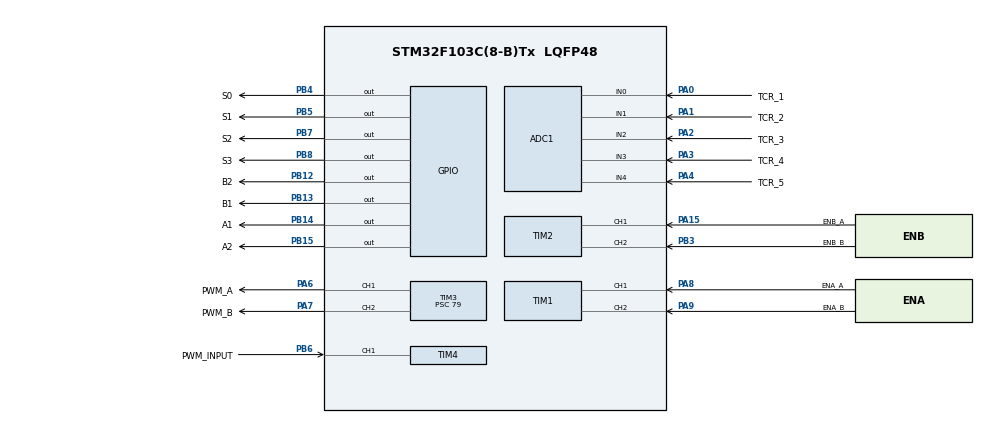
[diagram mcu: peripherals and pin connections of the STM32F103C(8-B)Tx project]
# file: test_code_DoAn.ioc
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ADC1.Channel-0\#ChannelRegularConversion=ADC_CHANNEL_0
ADC1.Channel-1\#ChannelRegularConversion=ADC_CHANNEL_1
ADC1.Channel-2\#ChannelRegularConversion=ADC_CHANNEL_2
ADC1.Channel-3\#ChannelRegularConversion=ADC_CHANNEL_3
ADC1.Channel-4\#ChannelRegularConversion=ADC_CHANNEL_4
ADC1.ContinuousConvMode=ENABLE
ADC1.NbrOfConversion=5
ADC1.NbrOfConversionFlag=1
ADC1.Rank-0\#ChannelRegularConversion=1
ADC1.Rank-1\#ChannelRegularConversion=2
ADC1.Rank-2\#ChannelRegularConversion=3
ADC1.Rank-3\#ChannelRegularConversion=4
ADC1.Rank-4\#ChannelRegularConversion=5
ADC1.SamplingTime-0\#ChannelRegularConversion=ADC_SAMPLETIME_239CYCLES_5
ADC1.SamplingTime-1\#ChannelRegularConversion=ADC_SAMPLETIME_239CYCLES_5
ADC1.SamplingTime-2\#ChannelRegularConversion=ADC_SAMPLETIME_1CYCLE_5
ADC1.SamplingTime-3\#ChannelRegularConversion=ADC_SAMPLETIME_239CYCLES_5
ADC1.SamplingTime-4\#ChannelRegularConversion=ADC_SAMPLETIME_239CYCLES_5
ADC1.master=1
Dma.ADC1.0.Direction=DMA_PERIPH_TO_MEMORY
Dma.ADC1.0.Instance=DMA1_Channel1
Dma.ADC1.0.MemDataAlignment=DMA_MDATAALIGN_HALFWORD
Dma.ADC1.0.MemInc=DMA_MINC_ENABLE
Dma.ADC1.0.Mode=DMA_CIRCULAR
Dma.ADC1.0.PeriphDataAlignment=DMA_PDATAALIGN_HALFWORD
Dma.ADC1.0.PeriphInc=DMA_PINC_DISABLE
Dma.ADC1.0.Priority=DMA_PRIORITY_LOW
Dma.Request0=ADC1
Mcu.Family=STM32F1
Mcu.Name=STM32F103C(8-B)Tx
Mcu.Package=LQFP48
NVIC.DMA1_Channel1_IRQn=true\:0\:0\:false\:false\:true\:false\:true\:true
NVIC.PriorityGroup=NVIC_PRIORITYGROUP_4
PA0-WKUP.GPIO_Label=TCR_1
PA0-WKUP.Signal=ADCx_IN0
PA1.GPIO_Label=TCR_2
PA1.Signal=ADCx_IN1
PA13.Mode=Serial_Wire
PA13.Signal=SYS_JTMS-SWDIO
PA14.Mode=Serial_Wire
PA14.Signal=SYS_JTCK-SWCLK
PA15.GPIO_Label=ENB_A
PA15.Signal=S_TIM2_CH1_ETR
PA2.GPIO_Label=TCR_3
PA2.Signal=ADCx_IN2
PA3.GPIO_Label=TCR_4
PA3.Signal=ADCx_IN3
PA4.GPIO_Label=TCR_5
PA4.Signal=ADCx_IN4
PA6.GPIO_Label=PWM_A
PA6.Signal=S_TIM3_CH1
PA7.GPIO_Label=PWM_B
PA7.Signal=S_TIM3_CH2
PA8.GPIO_Label=ENA_A
PA8.Signal=S_TIM1_CH1
PA9.GPIO_Label=ENA_B
PA9.Signal=S_TIM1_CH2
PB12.GPIO_Label=B2
PB12.Signal=GPIO_Output
PB13.GPIO_Label=B1
PB13.Signal=GPIO_Output
PB14.GPIO_Label=A1
PB14.Signal=GPIO_Output
PB15.GPIO_Label=A2
PB15.Signal=GPIO_Output
PB3.GPIO_Label=ENB_B
PB3.Signal=S_TIM2_CH2
PB4.GPIO_Label=S0
PB4.Signal=GPIO_Output
PB5.GPIO_Label=S1
PB5.Signal=GPIO_Output
PB6.GPIO_Label=PWM_INPUT
PB6.Signal=S_TIM4_CH1
PB7.GPIO_Label=S2
PB7.Signal=GPIO_Output
PB8.GPIO_Label=S3
PB8.Signal=GPIO_Output
ProjectManager.HeapSize=0x200
ProjectManager.StackSize=0x400
ProjectManager.TargetToolchain=MDK-ARM V5.32
RCC.APB1Freq_Value=8000000
RCC.APB2Freq_Value=8000000
SH.ADCx_IN0.0=ADC1_IN0,IN0
SH.ADCx_IN1.0=ADC1_IN1,IN1
SH.ADCx_IN2.0=ADC1_IN2,IN2
SH.ADCx_IN3.0=ADC1_IN3,IN3
SH.ADCx_IN4.0=ADC1_IN4,IN4
SH.S_TIM1_CH1.0=TIM1_CH1,Encoder_Interface
SH.S_TIM1_CH2.0=TIM1_CH2,Encoder_Interface
SH.S_TIM2_CH1_ETR.0=TIM2_CH1,Encoder_Interface
SH.S_TIM2_CH2.0=TIM2_CH2,Encoder_Interface
SH.S_TIM3_CH1.0=TIM3_CH1,PWM Generation1 CH1
SH.S_TIM3_CH2.0=TIM3_CH2,PWM Generation2 CH2
SH.S_TIM4_CH1.0=TIM4_CH1,PWM_Input_1
TIM1.EncoderMode=TIM_ENCODERMODE_TI12
TIM2.EncoderMode=TIM_ENCODERMODE_TI12
TIM3.Channel-PWM\ Generation1\ CH1=TIM_CHANNEL_1
TIM3.Channel-PWM\ Generation2\ CH2=TIM_CHANNEL_2
TIM3.Period=100
TIM3.Prescaler=79
board=custom

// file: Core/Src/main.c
/* USER CODE BEGIN Header */
/**
  ******************************************************************************
  * @file           : main.c
  * @brief          : Main program body
  ******************************************************************************
  * @attention
  *
  * Copyright (c) 2022 STMicroelectronics.
  * All rights reserved.
  *
  * This software is licensed under terms that can be found in the LICENSE file
  * in the root directory of this software component.
  * If no LICENSE file comes with this software, it is provided AS-IS.
  *
  ******************************************************************************
  */
/* USER CODE END Header */
#include "main.h"
#include "math.h"

 ADC_HandleTypeDef hadc1;
DMA_HandleTypeDef hdma_adc1;

TIM_HandleTypeDef htim1;
TIM_HandleTypeDef htim2;
TIM_HandleTypeDef htim3;
TIM_HandleTypeDef htim4;

void SystemClock_Config(void);
static void MX_GPIO_Init(void);
static void MX_DMA_Init(void);
static void MX_ADC1_Init(void);
static void MX_TIM1_Init(void);
static void MX_TIM2_Init(void);
static void MX_TIM3_Init(void);
static void MX_TIM4_Init(void);
/* USER CODE BEGIN PFP */
uint16_t u16_ADCScanVal[5];
int sum_ADC=0;
uint32_t red_value=0, green_value=0, blue_value=0;
int red=0, green=0;

uint32_t current_time=0, time_A=0, time_B=0;
uint32_t time=0, duration=0, time_start_feedback=0, duration_feedback=0, duration_feedback_;
long count_A = 0, count_B = 0;
float rpm_A = 0, rpm_B = 0, expected_rpm_A=0, expected_rpm_B=0, duty_cycle_A=0, duty_cycle_B=0, v_A=0, v_B=0;

float error_rpm=0, cum_error_A=0, cum_error_B=0, error_prev_A=0, error_prev_B=0;
float error_filtered_A = 0, error_filtered_B = 0, rate_error = 0, duty_cycle = 0;
float sample_time = 0.05,  T_filter=0.1, feedback_time=0.05; // s
float kp_A=0.47, ki_A=5.26, kd_A=-0.004;
float kp_B=0.47, ki_B=5.26, kd_B=-0.004;
float k1 = 0.05/200*0.5, k2 = 0.1/200*0.5, k3 = 2/200*0.5, vRef=650,wRef=0;

int isStarted=0;
int sign = 1;
float e2=0, e2_prev=0, e3=0;
float v=0, w=0, v_fb=0, v_prev=0;
float R=96/2.0, L=240, pi=3.1415;
/* USER CODE END PFP */

/* USER CODE BEGIN 0 */
void color_recognize(){
	for(int i=0; i<3; i++){
			switch (i){
				case 0:
					HAL_GPIO_WritePin(S2_GPIO_Port, S2_Pin, 0);
					HAL_GPIO_WritePin(S3_GPIO_Port, S3_Pin, 0);
					red_value = HAL_TIM_ReadCapturedValue(&htim4, TIM_CHANNEL_1);
					HAL_Delay(1);
					break;
				case 1:
					HAL_GPIO_WritePin(S2_GPIO_Port, S2_Pin, 0);
					HAL_GPIO_WritePin(S3_GPIO_Port, S3_Pin, 1);
					blue_value = HAL_TIM_ReadCapturedValue(&htim4, TIM_CHANNEL_1);
					HAL_Delay(1);
					break;
				default:
					HAL_GPIO_WritePin(S2_GPIO_Port, S2_Pin, 1);
					HAL_GPIO_WritePin(S3_GPIO_Port, S3_Pin, 1);
					green_value = HAL_TIM_ReadCapturedValue(&htim4, TIM_CHANNEL_1);
					HAL_Delay(1);
			}
		}
		if (red_value<800 && green_value>600){
			green=1;
			red=0;
		}
		else if (red_value>800 && green_value<700 && red_value<1000){
			green=0;
			red=1;
		}
		else {
			green=0;
			red=0;
		}
}

// tinh gia tri encoder

int convert_2_sign_int(int counter){
	if (counter >  32767) return counter - 65535;
	else return counter;
}

// tinh rpm
void calculate_rpm(int motor_id){
	current_time = HAL_GetTick();
	if (motor_id==1){
		time_A = current_time-time_A;
		count_A = __HAL_TIM_GET_COUNTER(&htim1);
		count_A = convert_2_sign_int(count_A);
		rpm_A = (float)count_A*1000.0/((float)time_A*374)*60/4;
		v_A = (rpm_A/60.0)*2*R*pi;
		__HAL_TIM_SET_COUNTER(&htim1, 0);
		time_A = HAL_GetTick();
	}
	if (motor_id==2){
		time_B = current_time-time_B;
		count_B = __HAL_TIM_GET_COUNTER(&htim2);
		count_B = convert_2_sign_int(count_B);
		rpm_B = (float)count_B*1000.0/((float)time_B*374)*60/4;
		v_B = (rpm_B/60.0)*2*R*pi;
		__HAL_TIM_SET_COUNTER(&htim2, 0);

		time_B = HAL_GetTick();
	}
}

float control_motor_A(float rpm_motor, float expected_rpm){
		error_rpm = expected_rpm-rpm_motor;
		cum_error_A += error_rpm*feedback_time;
		rate_error = (error_rpm-error_prev_A)/feedback_time;
//		error_filtered_A = error_filtered_A*(1-feedback_time/T_filter)+(feedback_time/T_filter)*error_rpm;
//		rate_error = (error_rpm-error_filtered_A)/T_filter;
		duty_cycle = kp_A*error_rpm + ki_A*cum_error_A+ kd_A*rate_error;//+ kd*(error_rpm-error_prev) + ki*cum_error+ kd*rate_error
		error_prev_A = error_rpm;
//
	if (duty_cycle<-100) return -100;
	if (duty_cycle>100) return 100;
	return duty_cycle;
}

float control_motor_B(float rpm_motor, float expected_rpm){
		error_rpm = expected_rpm-rpm_motor;
		cum_error_B += error_rpm*feedback_time;
//		rate_error = (error_rpm-error_prev_B)/feedback_time;
		error_filtered_B = error_filtered_B*(1-feedback_time/T_filter)+(feedback_time/T_filter)*error_rpm;
		rate_error = (error_rpm-error_filtered_B)/T_filter;
		duty_cycle = kp_B*error_rpm + ki_B*cum_error_B+ kd_B*rate_error;//+ kd*(error_rpm-error_prev) + ki*cum_error+ kd*rate_error
		error_prev_B = error_rpm;
//
	if (duty_cycle<-100) return -100;
	if (duty_cycle>100) return 100;
	return duty_cycle;
}

//
float compute_e2(){
	sum_ADC=0;
	for (int i=0; i<5;i++){
		sum_ADC+= (u16_ADCScanVal[i]-200);
	}
	if (u16_ADCScanVal[3]>2400 && u16_ADCScanVal[1]>2400)
		e2 = -15;
	else
		e2=((u16_ADCScanVal[0]-u16_ADCScanVal[4])*34+(u16_ADCScanVal[1]-u16_ADCScanVal[3])*17)/(float)sum_ADC;
	return e2;
}

float abs_(float a){
	if(a<0)
		return -a;
	else
		return a;
}

float sign_(float a){
	if (a<0)
		return -1;
	else
		return 1;
}
/* USER CODE END 0 */

int main(void)
{

  /* MCU Configuration--------------------------------------------------------*/

  /* Reset of all peripherals, Initializes the Flash interface and the Systick. */
  HAL_Init();

  /* Configure the system clock */
  SystemClock_Config();

  /* Initialize all configured peripherals */
  MX_GPIO_Init();
  MX_DMA_Init();
  MX_ADC1_Init();
  MX_TIM1_Init();
  MX_TIM2_Init();
  MX_TIM3_Init();
  MX_TIM4_Init();
  /* USER CODE BEGIN 2 */

	// cam bien mau
	HAL_GPIO_WritePin(S0_GPIO_Port, S0_Pin, 1);
	HAL_GPIO_WritePin(S1_GPIO_Port, S1_Pin, 1);
	HAL_TIM_IC_Start(&htim4, TIM_CHANNEL_1);
	HAL_TIM_IC_Start(&htim4, TIM_CHANNEL_2);

	// cam bien do line
	HAL_ADC_Start_DMA(&hadc1, (uint32_t*)u16_ADCScanVal, 5);

	// dong co
	HAL_TIM_PWM_Start(&htim3, TIM_CHANNEL_1);
	HAL_TIM_PWM_Start(&htim3, TIM_CHANNEL_2);
	TIM3->CCR1 = 0;
	TIM3->CCR2 = 0;
	HAL_GPIO_WritePin(A1_GPIO_Port, A1_Pin, 0);
	HAL_GPIO_WritePin(A2_GPIO_Port, A2_Pin, 0);
	HAL_GPIO_WritePin(B1_GPIO_Port, B1_Pin, 0);
	HAL_GPIO_WritePin(B2_GPIO_Port, B2_Pin, 0);
	// encoder
	HAL_TIM_Encoder_Start(&htim1, TIM_CHANNEL_1 | TIM_CHANNEL_2);
	HAL_TIM_Encoder_Start(&htim2, TIM_CHANNEL_1 | TIM_CHANNEL_2);
	HAL_Delay(1000);
	TIM3->CCR1=50;
	HAL_GPIO_WritePin(A1_GPIO_Port, A1_Pin, 0);
	HAL_GPIO_WritePin(A2_GPIO_Port, A2_Pin, 1);
	TIM3->CCR2=50;
	HAL_GPIO_WritePin(B1_GPIO_Port, B1_Pin, 0);
	HAL_GPIO_WritePin(B2_GPIO_Port, B2_Pin, 1);
	HAL_Delay(1000);

  /* USER CODE END 2 */

  /* Infinite loop */
  /* USER CODE BEGIN WHILE */
  while (1)
  {
		duration = 0;
		time = HAL_GetTick();
		color_recognize();

		calculate_rpm(1); //motor A
		calculate_rpm(2);
		v_fb = (v_A+v_B)/2;

		e2 = compute_e2();

		if(v==0)
			e3=0;
		else
			e3=(e2-e2_prev)/(0.5*(v_fb+v_prev)*sample_time);

		k1 = 0.05/200*0.5;
    k2 = 0.1/200*0.5;
    k3 = 2/200*0.5;

    wRef = -e3;
    if (abs_(wRef)>pi/2){
        wRef = pi/2*sign_(wRef);
    }

    v = vRef*cos(e3);
    w = k2*vRef*e2 + wRef + k3*sin(e3);

    if (abs_(v-v_fb)>50)
			v = v_fb + 50*sign_(v-v_fb);

//		expected_rpm_A=50;
//		expected_rpm_B=50;
		expected_rpm_A = 1.0/2*(w*L+2*v)/(pi*2*R)*60; // banh phai
    expected_rpm_B = 1.0/2*(2*v-w*L)/(pi*2*R)*60; // banh trai

		duty_cycle_A = control_motor_A(rpm_A, expected_rpm_A);
		duty_cycle_B = control_motor_B(rpm_B, expected_rpm_B);

		if (u16_ADCScanVal[0]<1500 && u16_ADCScanVal[1] <1500 && u16_ADCScanVal[2]<1500 && u16_ADCScanVal[3]<1500 && u16_ADCScanVal[4]<1500){
			TIM3->CCR1=0;
			TIM3->CCR2=0;
			HAL_Delay(100000);

		}
		if (duty_cycle_A<0){
			HAL_GPIO_WritePin(A1_GPIO_Port, A1_Pin, 1);
			HAL_GPIO_WritePin(A2_GPIO_Port, A2_Pin, 0);
			duty_cycle_A = -duty_cycle_A;
		}
		else{
			HAL_GPIO_WritePin(A1_GPIO_Port, A1_Pin, 0);
			HAL_GPIO_WritePin(A2_GPIO_Port, A2_Pin, 1);
		}
		TIM3->CCR1 = (int)duty_cycle_A;

		if (duty_cycle_B<0){
			HAL_GPIO_WritePin(B1_GPIO_Port, B1_Pin, 1);
			HAL_GPIO_WritePin(B2_GPIO_Port, B2_Pin, 0);
			duty_cycle_B = -duty_cycle_B;
		}
		else{
			HAL_GPIO_WritePin(B1_GPIO_Port, B1_Pin, 0);
			HAL_GPIO_WritePin(B2_GPIO_Port, B2_Pin, 1);
		}
		TIM3->CCR2 = (int)duty_cycle_B;

		e2_prev = e2;
		v_prev = v_fb;
		duration= HAL_GetTick()-time;
		HAL_Delay((int)(sample_time*1000)-duration);

    /* USER CODE END WHILE */

  }
}

void SystemClock_Config(void)
{
  RCC_OscInitTypeDef RCC_OscInitStruct = {0};
  RCC_ClkInitTypeDef RCC_ClkInitStruct = {0};
  RCC_PeriphCLKInitTypeDef PeriphClkInit = {0};

  /** Initializes the RCC Oscillators according to the specified parameters
  * in the RCC_OscInitTypeDef structure.
  */
  RCC_OscInitStruct.OscillatorType = RCC_OSCILLATORTYPE_HSI;
  RCC_OscInitStruct.HSIState = RCC_HSI_ON;
  RCC_OscInitStruct.HSICalibrationValue = RCC_HSICALIBRATION_DEFAULT;
  RCC_OscInitStruct.PLL.PLLState = RCC_PLL_NONE;
  if (HAL_RCC_OscConfig(&RCC_OscInitStruct) != HAL_OK)
  {
    Error_Handler();
  }

  /** Initializes the CPU, AHB and APB buses clocks
  */
  RCC_ClkInitStruct.ClockType = RCC_CLOCKTYPE_HCLK|RCC_CLOCKTYPE_SYSCLK
                              |RCC_CLOCKTYPE_PCLK1|RCC_CLOCKTYPE_PCLK2;
  RCC_ClkInitStruct.SYSCLKSource = RCC_SYSCLKSOURCE_HSI;
  RCC_ClkInitStruct.AHBCLKDivider = RCC_SYSCLK_DIV1;
  RCC_ClkInitStruct.APB1CLKDivider = RCC_HCLK_DIV1;
  RCC_ClkInitStruct.APB2CLKDivider = RCC_HCLK_DIV1;

  if (HAL_RCC_ClockConfig(&RCC_ClkInitStruct, FLASH_LATENCY_0) != HAL_OK)
  {
    Error_Handler();
  }
  PeriphClkInit.PeriphClockSelection = RCC_PERIPHCLK_ADC;
  PeriphClkInit.AdcClockSelection = RCC_ADCPCLK2_DIV2;
  if (HAL_RCCEx_PeriphCLKConfig(&PeriphClkInit) != HAL_OK)
  {
    Error_Handler();
  }
}

static void MX_ADC1_Init(void)
{

  ADC_ChannelConfTypeDef sConfig = {0};

  /** Common config
  */
  hadc1.Instance = ADC1;
  hadc1.Init.ScanConvMode = ADC_SCAN_ENABLE;
  hadc1.Init.ContinuousConvMode = ENABLE;
  hadc1.Init.DiscontinuousConvMode = DISABLE;
  hadc1.Init.ExternalTrigConv = ADC_SOFTWARE_START;
  hadc1.Init.DataAlign = ADC_DATAALIGN_RIGHT;
  hadc1.Init.NbrOfConversion = 5;
  if (HAL_ADC_Init(&hadc1) != HAL_OK)
  {
    Error_Handler();
  }

  /** Configure Regular Channel
  */
  sConfig.Channel = ADC_CHANNEL_0;
  sConfig.Rank = ADC_REGULAR_RANK_1;
  sConfig.SamplingTime = ADC_SAMPLETIME_239CYCLES_5;
  if (HAL_ADC_ConfigChannel(&hadc1, &sConfig) != HAL_OK)
  {
    Error_Handler();
  }

  /** Configure Regular Channel
  */
  sConfig.Channel = ADC_CHANNEL_1;
  sConfig.Rank = ADC_REGULAR_RANK_2;
  if (HAL_ADC_ConfigChannel(&hadc1, &sConfig) != HAL_OK)
  {
    Error_Handler();
  }

  /** Configure Regular Channel
  */
  sConfig.Channel = ADC_CHANNEL_2;
  sConfig.Rank = ADC_REGULAR_RANK_3;
  sConfig.SamplingTime = ADC_SAMPLETIME_1CYCLE_5;
  if (HAL_ADC_ConfigChannel(&hadc1, &sConfig) != HAL_OK)
  {
    Error_Handler();
  }

  /** Configure Regular Channel
  */
  sConfig.Channel = ADC_CHANNEL_3;
  sConfig.Rank = ADC_REGULAR_RANK_4;
  sConfig.SamplingTime = ADC_SAMPLETIME_239CYCLES_5;
  if (HAL_ADC_ConfigChannel(&hadc1, &sConfig) != HAL_OK)
  {
    Error_Handler();
  }

  /** Configure Regular Channel
  */
  sConfig.Channel = ADC_CHANNEL_4;
  sConfig.Rank = ADC_REGULAR_RANK_5;
  if (HAL_ADC_ConfigChannel(&hadc1, &sConfig) != HAL_OK)
  {
    Error_Handler();
  }

}

static void MX_TIM1_Init(void)
{

  TIM_Encoder_InitTypeDef sConfig = {0};
  TIM_MasterConfigTypeDef sMasterConfig = {0};

  htim1.Instance = TIM1;
  htim1.Init.Prescaler = 0;
  htim1.Init.CounterMode = TIM_COUNTERMODE_UP;
  htim1.Init.Period = 65535;
  htim1.Init.ClockDivision = TIM_CLOCKDIVISION_DIV1;
  htim1.Init.RepetitionCounter = 0;
  htim1.Init.AutoReloadPreload = TIM_AUTORELOAD_PRELOAD_DISABLE;
  sConfig.EncoderMode = TIM_ENCODERMODE_TI12;
  sConfig.IC1Polarity = TIM_ICPOLARITY_RISING;
  sConfig.IC1Selection = TIM_ICSELECTION_DIRECTTI;
  sConfig.IC1Prescaler = TIM_ICPSC_DIV1;
  sConfig.IC1Filter = 0;
  sConfig.IC2Polarity = TIM_ICPOLARITY_RISING;
  sConfig.IC2Selection = TIM_ICSELECTION_DIRECTTI;
  sConfig.IC2Prescaler = TIM_ICPSC_DIV1;
  sConfig.IC2Filter = 0;
  if (HAL_TIM_Encoder_Init(&htim1, &sConfig) != HAL_OK)
  {
    Error_Handler();
  }
  sMasterConfig.MasterOutputTrigger = TIM_TRGO_RESET;
  sMasterConfig.MasterSlaveMode = TIM_MASTERSLAVEMODE_DISABLE;
  if (HAL_TIMEx_MasterConfigSynchronization(&htim1, &sMasterConfig) != HAL_OK)
  {
    Error_Handler();
  }

}

static void MX_TIM2_Init(void)
{

  TIM_Encoder_InitTypeDef sConfig = {0};
  TIM_MasterConfigTypeDef sMasterConfig = {0};

  htim2.Instance = TIM2;
  htim2.Init.Prescaler = 0;
  htim2.Init.CounterMode = TIM_COUNTERMODE_UP;
  htim2.Init.Period = 65535;
  htim2.Init.ClockDivision = TIM_CLOCKDIVISION_DIV1;
  htim2.Init.AutoReloadPreload = TIM_AUTORELOAD_PRELOAD_DISABLE;
  sConfig.EncoderMode = TIM_ENCODERMODE_TI12;
  sConfig.IC1Polarity = TIM_ICPOLARITY_RISING;
  sConfig.IC1Selection = TIM_ICSELECTION_DIRECTTI;
  sConfig.IC1Prescaler = TIM_ICPSC_DIV1;
  sConfig.IC1Filter = 0;
  sConfig.IC2Polarity = TIM_ICPOLARITY_RISING;
  sConfig.IC2Selection = TIM_ICSELECTION_DIRECTTI;
  sConfig.IC2Prescaler = TIM_ICPSC_DIV1;
  sConfig.IC2Filter = 0;
  if (HAL_TIM_Encoder_Init(&htim2, &sConfig) != HAL_OK)
  {
    Error_Handler();
  }
  sMasterConfig.MasterOutputTrigger = TIM_TRGO_RESET;
  sMasterConfig.MasterSlaveMode = TIM_MASTERSLAVEMODE_DISABLE;
  if (HAL_TIMEx_MasterConfigSynchronization(&htim2, &sMasterConfig) != HAL_OK)
  {
    Error_Handler();
  }

}

static void MX_TIM3_Init(void)
{

  TIM_MasterConfigTypeDef sMasterConfig = {0};
  TIM_OC_InitTypeDef sConfigOC = {0};

  htim3.Instance = TIM3;
  htim3.Init.Prescaler = 79;
  htim3.Init.CounterMode = TIM_COUNTERMODE_UP;
  htim3.Init.Period = 100;
  htim3.Init.ClockDivision = TIM_CLOCKDIVISION_DIV1;
  htim3.Init.AutoReloadPreload = TIM_AUTORELOAD_PRELOAD_DISABLE;
  if (HAL_TIM_PWM_Init(&htim3) != HAL_OK)
  {
    Error_Handler();
  }
  sMasterConfig.MasterOutputTrigger = TIM_TRGO_RESET;
  sMasterConfig.MasterSlaveMode = TIM_MASTERSLAVEMODE_DISABLE;
  if (HAL_TIMEx_MasterConfigSynchronization(&htim3, &sMasterConfig) != HAL_OK)
  {
    Error_Handler();
  }
  sConfigOC.OCMode = TIM_OCMODE_PWM1;
  sConfigOC.Pulse = 0;
  sConfigOC.OCPolarity = TIM_OCPOLARITY_HIGH;
  sConfigOC.OCFastMode = TIM_OCFAST_DISABLE;
  if (HAL_TIM_PWM_ConfigChannel(&htim3, &sConfigOC, TIM_CHANNEL_1) != HAL_OK)
  {
    Error_Handler();
  }
  if (HAL_TIM_PWM_ConfigChannel(&htim3, &sConfigOC, TIM_CHANNEL_2) != HAL_OK)
  {
    Error_Handler();
  }
  HAL_TIM_MspPostInit(&htim3);

}

static void MX_TIM4_Init(void)
{

  TIM_SlaveConfigTypeDef sSlaveConfig = {0};
  TIM_IC_InitTypeDef sConfigIC = {0};
  TIM_MasterConfigTypeDef sMasterConfig = {0};

  htim4.Instance = TIM4;
  htim4.Init.Prescaler = 0;
  htim4.Init.CounterMode = TIM_COUNTERMODE_UP;
  htim4.Init.Period = 65535;
  htim4.Init.ClockDivision = TIM_CLOCKDIVISION_DIV1;
  htim4.Init.AutoReloadPreload = TIM_AUTORELOAD_PRELOAD_DISABLE;
  if (HAL_TIM_IC_Init(&htim4) != HAL_OK)
  {
    Error_Handler();
  }
  sSlaveConfig.SlaveMode = TIM_SLAVEMODE_RESET;
  sSlaveConfig.InputTrigger = TIM_TS_TI1FP1;
  sSlaveConfig.TriggerPolarity = TIM_INPUTCHANNELPOLARITY_RISING;
  sSlaveConfig.TriggerPrescaler = TIM_ICPSC_DIV1;
  sSlaveConfig.TriggerFilter = 0;
  if (HAL_TIM_SlaveConfigSynchro(&htim4, &sSlaveConfig) != HAL_OK)
  {
    Error_Handler();
  }
  sConfigIC.ICPolarity = TIM_INPUTCHANNELPOLARITY_RISING;
  sConfigIC.ICSelection = TIM_ICSELECTION_DIRECTTI;
  sConfigIC.ICPrescaler = TIM_ICPSC_DIV1;
  sConfigIC.ICFilter = 0;
  if (HAL_TIM_IC_ConfigChannel(&htim4, &sConfigIC, TIM_CHANNEL_1) != HAL_OK)
  {
    Error_Handler();
  }
  sConfigIC.ICPolarity = TIM_INPUTCHANNELPOLARITY_FALLING;
  sConfigIC.ICSelection = TIM_ICSELECTION_INDIRECTTI;
  if (HAL_TIM_IC_ConfigChannel(&htim4, &sConfigIC, TIM_CHANNEL_2) != HAL_OK)
  {
    Error_Handler();
  }
  sMasterConfig.MasterOutputTrigger = TIM_TRGO_RESET;
  sMasterConfig.MasterSlaveMode = TIM_MASTERSLAVEMODE_DISABLE;
  if (HAL_TIMEx_MasterConfigSynchronization(&htim4, &sMasterConfig) != HAL_OK)
  {
    Error_Handler();
  }

}

static void MX_DMA_Init(void)
{

  /* DMA controller clock enable */
  __HAL_RCC_DMA1_CLK_ENABLE();

  /* DMA interrupt init */
  /* DMA1_Channel1_IRQn interrupt configuration */
  HAL_NVIC_SetPriority(DMA1_Channel1_IRQn, 0, 0);
  HAL_NVIC_EnableIRQ(DMA1_Channel1_IRQn);

}

static void MX_GPIO_Init(void)
{
  GPIO_InitTypeDef GPIO_InitStruct = {0};

  /* GPIO Ports Clock Enable */
  __HAL_RCC_GPIOA_CLK_ENABLE();
  __HAL_RCC_GPIOB_CLK_ENABLE();

  /*Configure GPIO pin Output Level */
  HAL_GPIO_WritePin(GPIOB, B2_Pin|B1_Pin|A1_Pin|A2_Pin
                          |S0_Pin|S1_Pin|S2_Pin|S3_Pin, GPIO_PIN_RESET);

  /*Configure GPIO pins : B2_Pin B1_Pin A1_Pin A2_Pin
                           S0_Pin S1_Pin S2_Pin S3_Pin */
  GPIO_InitStruct.Pin = B2_Pin|B1_Pin|A1_Pin|A2_Pin
                          |S0_Pin|S1_Pin|S2_Pin|S3_Pin;
  GPIO_InitStruct.Mode = GPIO_MODE_OUTPUT_PP;
  GPIO_InitStruct.Pull = GPIO_NOPULL;
  GPIO_InitStruct.Speed = GPIO_SPEED_FREQ_LOW;
  HAL_GPIO_Init(GPIOB, &GPIO_InitStruct);

}

void Error_Handler(void)
{
  __disable_irq();
  while (1)
  {
  }
}
